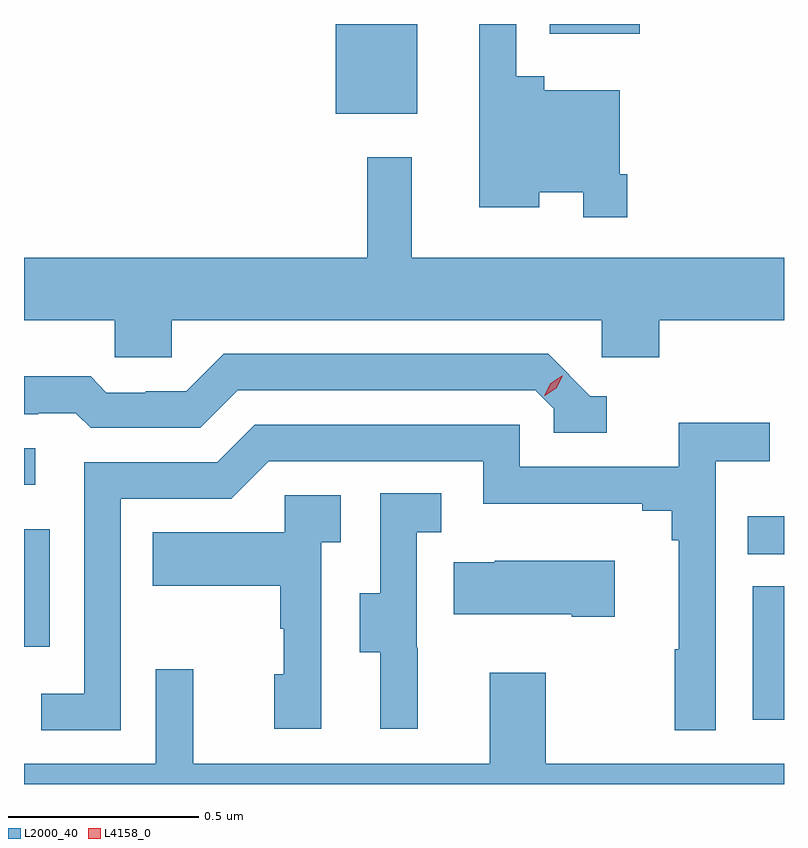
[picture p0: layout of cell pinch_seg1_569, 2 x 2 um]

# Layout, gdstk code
import gdstk
lib = gdstk.Library(unit=1e-6, precision=1e-09)
def R(c, l, rs):  # rectangles x0, y0, x1, y1
    for r in rs: c.add(gdstk.rectangle(r[:2], r[2:], *l))
def P(c, l, *ps):  # polygons
    for p in ps: c.add(gdstk.Polygon(p, *l))
L2000_40 = (2000, 40)
L4158_0 = (4158, 0)

pinch_seg1_569 = lib.new_cell('pinch_seg1_569')
R(pinch_seg1_569, L2000_40, [(1031.366,537.36,1031.448,537.711), (1029.448,537.552,1029.516,537.862), (1031.353,537.796,1031.448,537.895), (1029.448,537.978,1029.478,538.074), (1030.268,538.955,1030.483,539.191), (1030.832,539.165,1031.068,539.191)])
P(pinch_seg1_569, L2000_40, [(1031.036,538.795),(1031.016,538.795),(1031.016,539.017),(1030.817,539.017),(1030.817,539.053),(1030.743,539.053),(1030.743,539.191),(1030.646,539.191),(1030.646,538.709),(1030.804,538.709),(1030.804,538.748),(1030.92,538.748),(1030.92,538.683),(1031.036,538.683)],
  [(1029.837,538.412),(1030.968,538.412),(1030.968,538.314),(1031.12,538.314),(1031.12,538.412),(1031.448,538.412),(1031.448,538.576),(1030.468,538.576),(1030.468,538.84),(1030.351,538.84),(1030.351,538.576),(1029.448,538.576),(1029.448,538.412),(1029.687,538.412),(1029.687,538.314),(1029.837,538.314)],
  [(1030.981,538.212),(1030.938,538.212),(1030.827,538.323),(1029.974,538.323),(1029.875,538.224),(1029.768,538.224),(1029.768,538.221),(1029.665,538.221),(1029.623,538.264),(1029.448,538.264),(1029.448,538.164),(1029.485,538.164),(1029.485,538.167),(1029.584,538.167),(1029.623,538.128),(1029.912,538.128),(1030.011,538.227),(1030.794,538.227),(1030.842,538.179),(1030.842,538.116),(1030.981,538.116)],
  [(1029.702,537.942),(1029.993,537.942),(1030.092,538.041),(1030.656,538.041),(1030.656,537.929),(1031.075,537.929),(1031.075,537.91),(1031.152,537.91),(1031.152,537.833),(1031.171,537.833),(1031.171,537.545),(1031.16,537.545),(1031.16,537.333),(1031.268,537.333),(1031.268,538.04),(1031.41,538.04),(1031.41,538.142),(1031.171,538.142),(1031.171,538.026),(1030.752,538.026),(1030.752,538.137),(1030.055,538.137),(1029.956,538.038),(1029.606,538.038),(1029.606,537.429),(1029.493,537.429),(1029.493,537.333),(1029.702,537.333)],
  [(1030.484,537.549),(1030.482,537.549),(1030.482,537.853),(1030.546,537.853),(1030.546,537.956),(1030.386,537.956),(1030.386,537.693),(1030.331,537.693),(1030.331,537.538),(1030.385,537.538),(1030.385,537.336),(1030.484,537.336)],
  [(1030.23,537.827),(1030.282,537.827),(1030.282,537.951),(1030.134,537.951),(1030.134,537.853),(1029.787,537.853),(1029.787,537.713),(1030.122,537.713),(1030.122,537.599),(1030.132,537.599),(1030.132,537.48),(1030.106,537.48),(1030.106,537.336),(1030.23,537.336)],
  [(1031.002,537.778),(1030.687,537.778),(1030.687,537.775),(1030.579,537.775),(1030.579,537.638),(1030.889,537.638),(1030.889,537.631),(1031.002,537.631)],
  [(1031.448,537.244),(1030.821,537.244),(1030.821,537.484),(1030.673,537.484),(1030.673,537.244),(1029.893,537.244),(1029.893,537.493),(1029.795,537.493),(1029.795,537.244),(1029.448,537.244),(1029.448,537.191),(1031.448,537.191)])
P(pinch_seg1_569, L4158_0, [(1030.817,538.213),(1030.817,538.213),(1030.834,538.246),(1030.865,538.265),(1030.866,538.265),(1030.866,538.265),(1030.849,538.232),(1030.818,538.213)])

lib.write_gds('pinch_seg1_569.gds')
